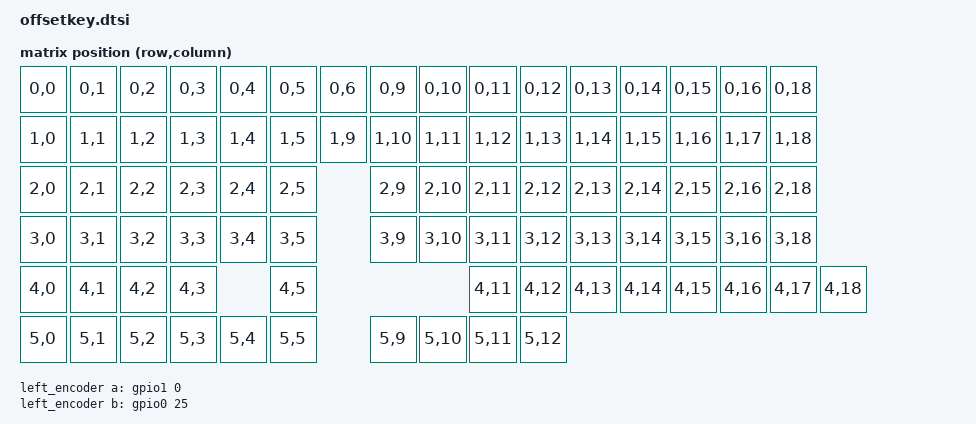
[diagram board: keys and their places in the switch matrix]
#include <dt-bindings/zmk/matrix_transform.h>
#include  "offsetkey_physical_layout.dtsi"
#include <dt-bindings/led/led.h>
#include <dt-bindings/zmk/outputs.h>
#include <dt-bindings/zmk/keys.h>


#include <dt-bindings/zmk/matrix_transform.h>
#include  "offsetkey_physical_layout.dtsi"


/ {
     chosen {
        zmk,physical-layout = &offsetkey_physical_layout;
        zephyr,display = &oled;
        zmk,kscan = &kscan0;
        zmk,backlight = &backlight;
    };

backlight: pwmleds {
    compatible = "pwm-leds";
   // pwm_led_0: pwm_led_0 {
   //     pwms = <&pwm0 0 PWM_MSEC(1) PWM_POLARITY_NORMAL>;
  //  };
    pwm_led_1: pwm_led_1 {
        pwms = <&pwm0 1 PWM_MSEC(1) PWM_POLARITY_NORMAL>;
    };
  //  pwm_led_2: pwm_led_2 {
   //     pwms = <&pwm0 2 PWM_MSEC(1) PWM_POLARITY_NORMAL>;
  //  };
};
	left_encoder: encoder_left {
		compatible = "alps,ec11";
		label = "LEFT_ENCODER";
		resolution = <4>;
        steps = <40>;
        a-gpios = <&gpio1 0 (GPIO_ACTIVE_HIGH | GPIO_PULL_UP)>;
	    b-gpios = <&gpio0 25 (GPIO_ACTIVE_HIGH | GPIO_PULL_UP)>;
		status = "disabled";
	};

    sensors {
		compatible = "zmk,keymap-sensors";
		sensors = <&left_encoder>;
	};

    default_transform: keymap_transform_0 {
		compatible = "zmk,matrix-transform";
       
        columns = <19>;
        rows = <6>;

        map = <
            RC(0,0) RC(0,1) RC(0,2) RC(0,3) RC(0,4) RC(0,5) RC(0,6)            RC(0,9) RC(0,10) RC(0,11) RC(0,12) RC(0,13) RC(0,14) RC(0,15) RC(0,16) RC(0,18)
            RC(1,0) RC(1,1) RC(1,2) RC(1,3) RC(1,4) RC(1,5)                    RC(1,9) RC(1,10) RC(1,11) RC(1,12) RC(1,13) RC(1,14) RC(1,15) RC(1,16) RC(1,17) RC(1,18)
            RC(2,0) RC(2,1) RC(2,2) RC(2,3) RC(2,4) RC(2,5)                    RC(2,9) RC(2,10) RC(2,11) RC(2,12) RC(2,13) RC(2,14) RC(2,15) RC(2,16) RC(2,18)
            RC(3,0) RC(3,1) RC(3,2) RC(3,3) RC(3,4) RC(3,5)                    RC(3,9) RC(3,10) RC(3,11) RC(3,12) RC(3,13) RC(3,14) RC(3,15) RC(3,16) RC(3,18)
            RC(4,0) RC(4,1) RC(4,2) RC(4,3)         RC(4,5)                                     RC(4,11) RC(4,12) RC(4,13) RC(4,14) RC(4,15) RC(4,16) RC(4,17) RC(4,18)
            RC(5,0) RC(5,1) RC(5,2) RC(5,3) RC(5,4) RC(5,5)                    RC(5,9) RC(5,10) RC(5,11) RC(5,12)
        >;
    };
};    

&i2c0 {
	status = "okay";
	compatible = "nordic,nrf-twi";
    pinctrl-0 = <&i2c0_default>;
    pinctrl-1 = <&i2c0_sleep>;
    oled: ssd1306@3c {
        compatible = "solomon,ssd1306fb";
        reg = <0x3c>;
        width = <128>;
        height = <32>;
        segment-offset = <0>;
        page-offset = <0>;
        display-offset = <0>;
        multiplex-ratio = <31>;
        segment-remap;
        com-invdir;
        com-sequential;
        inversion-on;
        prechargep = <0x22>;
    };
};



&pinctrl {
    // Other Pinctrl definitions go here
    pwm0_default: pwm0_default {
        group1 {
            psels = //<NRF_PSEL(PWM_OUT0, 1, 3)>, 
                    <NRF_PSEL(PWM_OUT1, 0, 27)>; // LED 1
                   // <NRF_PSEL(PWM_OUT2, 1, 2)>; LED 2
        };
    };
    pwm0_sleep: pwm0_sleep {
        group1 {
            psels = //<NRF_PSEL(PWM_OUT0, 1, 3)>, 
                    <NRF_PSEL(PWM_OUT1, 0, 27)>; // LED 1
                                                                 // <NRF_PSEL(PWM_OUT2, 1, 2)>;
            low-power-enable;
        };
    };
};










